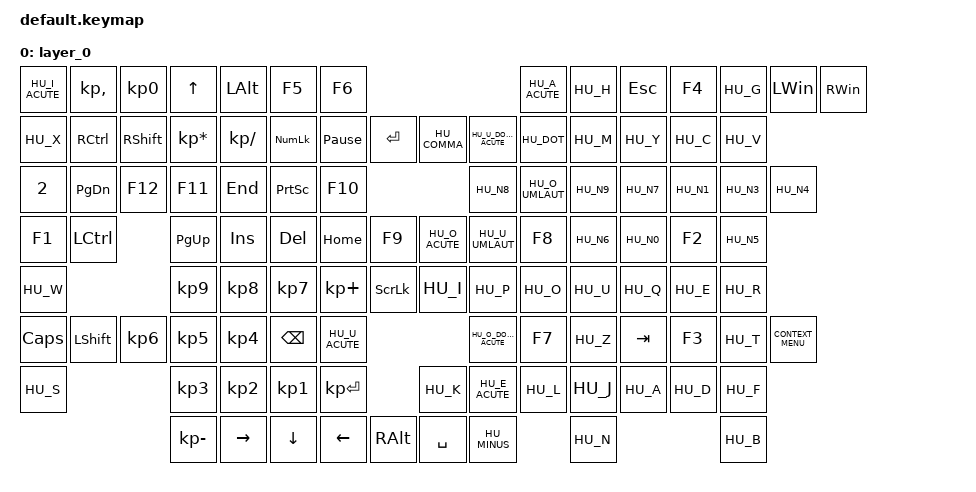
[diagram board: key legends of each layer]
#include "keys_hu_101.h"
#include <behaviors.dtsi>
#include <dt-bindings/zmk/keys.h>

/ {
    keymap {
        compatible = "zmk,keymap";

        layer_0 {
            bindings = <
&kp HU_I_ACUTE                                      &kp KP_COMMA     &kp KP_N0                         &kp UP_ARROW     &kp LEFT_ALT     &kp F5         &kp F6          &kp HU_A_ACUTE                     &kp HU_H   &kp ESCAPE  &kp F4     &kp HU_G   &kp LWIN            &kp RWIN
&kp HU_X        &kp RIGHT_CONTROL  &kp RIGHT_SHIFT  &kp KP_ASTERISK  &kp KP_DIVIDE    &kp KP_NUMLOCK   &kp PAUSE_BREAK                   &kp ENTER      &kp HU_COMMA    &kp HU_U_DOUBLE_ACUTE  &kp HU_DOT  &kp HU_M   &kp HU_Y    &kp HU_C   &kp HU_V
&kp NUMBER_2                                        &kp PAGE_DOWN    &kp F12          &kp F11          &kp END          &kp PRINTSCREEN  &kp F10        &kp HU_N8       &kp HU_O_UMLAUT        &kp HU_N9   &kp HU_N7  &kp HU_N1   &kp HU_N3  &kp HU_N4
&kp F1          &kp LEFT_CONTROL                    &kp PAGE_UP      &kp INSERT       &kp DELETE       &kp HOME                          &kp F9         &kp HU_O_ACUTE  &kp HU_U_UMLAUT        &kp F8      &kp HU_N6  &kp HU_N0   &kp F2     &kp HU_N5
&kp HU_W                                            &kp KP_NUMBER_9  &kp KP_NUMBER_8  &kp KP_NUMBER_7  &kp KP_PLUS      &kp SCROLLLOCK                  &kp HU_I        &kp HU_P               &kp HU_O    &kp HU_U   &kp HU_Q    &kp HU_E   &kp HU_R
&kp CAPSLOCK                       &kp LEFT_SHIFT   &kp KP_NUMBER_6  &kp KP_NUMBER_5  &kp KP_NUMBER_4                                    &kp BACKSPACE  &kp HU_U_ACUTE  &kp HU_O_DOUBLE_ACUTE  &kp F7      &kp HU_Z   &kp TAB     &kp F3     &kp HU_T   &kp K_CONTEXT_MENU
&kp HU_S                                            &kp KP_NUMBER_3  &kp KP_NUMBER_2  &kp KP_NUMBER_1  &kp KP_ENTER                                     &kp HU_K        &kp HU_E_ACUTE         &kp HU_L    &kp HU_J   &kp HU_A    &kp HU_D   &kp HU_F
                                                    &kp KP_MINUS     &kp RIGHT_ARROW  &kp DOWN_ARROW   &kp LEFT_ARROW   &kp RIGHT_ALT    &kp SPACE                      &kp HU_MINUS                       &kp HU_N                          &kp HU_B
            >;
        };
    };
};
